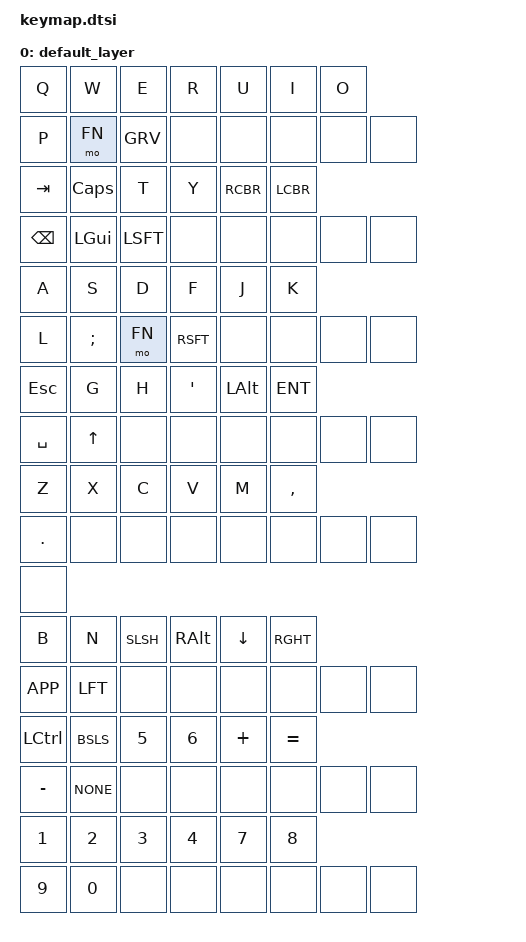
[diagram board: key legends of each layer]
/ {
    keymap {
        compatible = "zmk,keymap";
        label = "default";

        default_layer {
            bindings = <
                /* Row 0: C0–C15 = Q W E R U I O P FN ` + 6×空 */
                &kp Q    &kp W    &kp E    &kp R    &kp U    &kp I    &kp O   
                &kp P    &mo FN   &kp GRV  &none   &none   &none   &none   &none

                /* Row 1: Tab Caps T Y ] [ Backspace Win L_Shift + 6×空 */
                &kp TAB  &kp CAPS &kp T    &kp Y    &kp RCBR &kp LCBR 
                &kp BSPC &kp LGUI &kp LSFT &none   &none   &none   &none   &none

                /* Row 2: A S D F J K L ; FN R_Shift + 6×空 */
                &kp A    &kp S    &kp D    &kp F    &kp J    &kp K    
                &kp L    &kp SCLN &mo FN   &kp RSFT &none   &none   &none   &none

                /* Row 3: Esc G H ' L_Alt Enter Space Up + 8×空 */
                &kp ESC  &kp G    &kp H    &kp QUOT &kp LALT &kp ENT  
                &kp SPC  &kp UP   &none   &none   &none   &none   &none   &none

                /* Row 4: Z X C V M , . + 9×空 */
                &kp Z    &kp X    &kp C    &kp V    &kp M    &kp COMMA 
                &kp DOT  &none   &none   &none   &none   &none   &none   &none
                &none

                /* Row 5: B N / R_Alt Down Right App Left + 8×空 */
                &kp B    &kp N    &kp SLSH &kp RALT &kp DOWN &kp RGHT 
                &kp APP  &kp LFT  &none   &none   &none   &none   &none   &none

                /* Row 6: L_Control \ 5 6 +/= - ANY + 6×空 */
                &kp LCTL &kp BSLS &kp 5    &kp 6    &kp PLUS &kp EQL  
                &kp MINUS &kp NONE &none   &none   &none   &none   &none   &none

                /* Row 7: 1 2 3 4 7 8 9 0 + 8×空 */
                &kp 1    &kp 2    &kp 3    &kp 4    &kp 7    &kp 8    
                &kp 9    &kp 0    &none   &none   &none   &none   &none   &none
            >;
        };
    };
};
